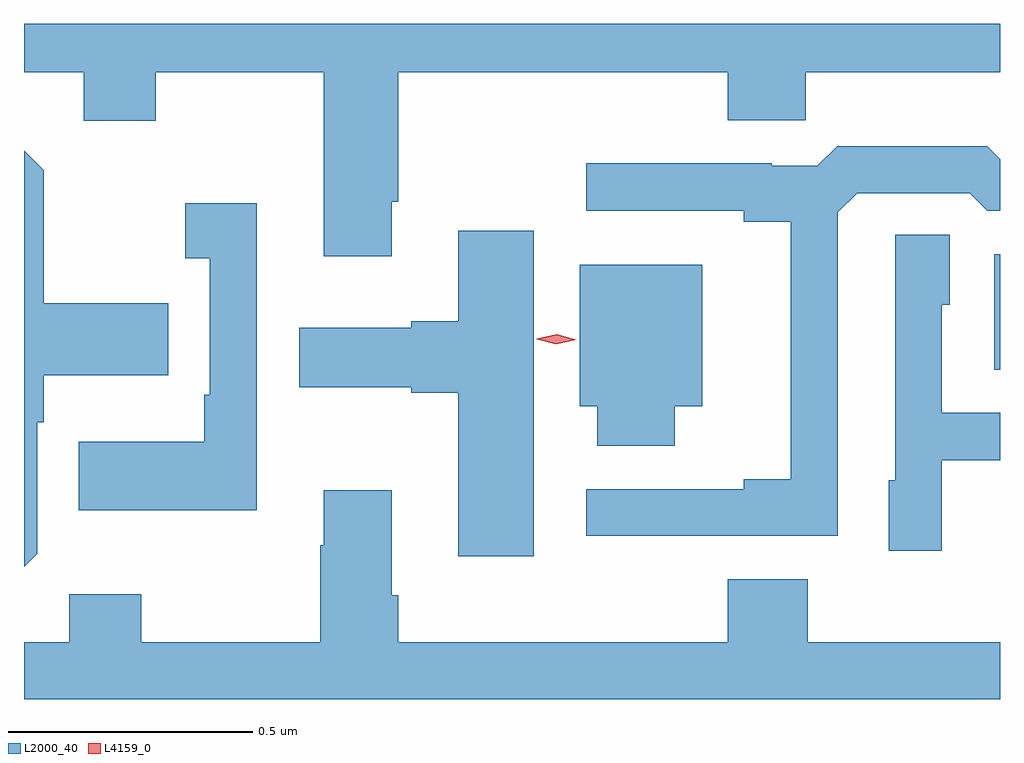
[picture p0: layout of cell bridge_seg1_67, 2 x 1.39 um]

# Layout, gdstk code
import gdstk
lib = gdstk.Library(unit=1e-6, precision=1e-09)
def R(c, l, rs):  # rectangles x0, y0, x1, y1
    for r in rs: c.add(gdstk.rectangle(r[:2], r[2:], *l))
def P(c, l, *ps):  # polygons
    for p in ps: c.add(gdstk.Polygon(p, *l))
L2000_40 = (2000, 40)
L4159_0 = (4159, 0)

bridge_seg1_67 = lib.new_cell('bridge_seg1_67')
R(bridge_seg1_67, L2000_40, [(603.545,583.091,603.557,583.327)])
P(bridge_seg1_67, L2000_40, [(602.311,583.435),(602.324,583.435),(602.324,583.7),(602.999,583.7),(602.999,583.602),(603.159,583.602),(603.159,583.7),(603.557,583.7),(603.557,583.8),(601.557,583.8),(601.557,583.7),(601.679,583.7),(601.679,583.601),(601.827,583.601),(601.827,583.7),(602.171,583.7),(602.171,583.323),(602.311,583.323)],
  [(603.225,583.413),(603.264,583.452),(603.495,583.452),(603.531,583.416),(603.557,583.416),(603.557,583.522),(603.531,583.549),(603.223,583.549),(603.183,583.509),(603.089,583.509),(603.089,583.514),(602.709,583.514),(602.709,583.416),(603.032,583.416),(603.032,583.394),(603.128,583.394),(603.128,582.866),(603.032,582.866),(603.032,582.846),(602.709,582.846),(602.709,582.75),(603.225,582.75)],
  [(601.584,582.714),(601.584,582.983),(601.597,582.983),(601.597,583.079),(601.853,583.079),(601.853,583.227),(601.597,583.227),(601.597,583.499),(601.557,583.539),(601.557,582.687)],
  [(602.034,583.432),(601.887,583.432),(601.887,583.319),(601.938,583.319),(601.938,583.039),(601.926,583.039),(601.926,582.943),(601.669,582.943),(601.669,582.803),(602.034,582.803)],
  [(602.602,583.375),(602.447,583.375),(602.447,583.19),(602.351,583.19),(602.351,583.177),(602.121,583.177),(602.121,583.055),(602.351,583.055),(602.351,583.043),(602.447,583.043),(602.447,582.708),(602.602,582.708)],
  [(603.438,582.905),(603.557,582.905),(603.557,583.002),(603.438,583.002),(603.438,583.224),(603.454,583.224),(603.454,583.367),(603.342,583.367),(603.342,582.864),(603.329,582.864),(603.329,582.72),(603.438,582.72)],
  [(602.89,583.016),(602.947,583.016),(602.947,583.306),(602.696,583.306),(602.696,583.016),(602.732,583.016),(602.732,582.935),(602.89,582.935)],
  [(603.557,582.532),(603.163,582.532),(603.163,582.661),(602.999,582.661),(602.999,582.532),(602.324,582.532),(602.324,582.628),(602.311,582.628),(602.311,582.844),(602.171,582.844),(602.171,582.731),(602.164,582.731),(602.164,582.532),(601.797,582.532),(601.797,582.631),(601.65,582.631),(601.65,582.532),(601.557,582.532),(601.557,582.415),(603.557,582.415)])
P(bridge_seg1_67, L4159_0, [(602.648,583.143),(602.608,583.153),(602.608,583.154),(602.608,583.154),(602.649,583.163),(602.689,583.152),(602.689,583.152),(602.689,583.152)])

lib.write_gds('bridge_seg1_67.gds')
